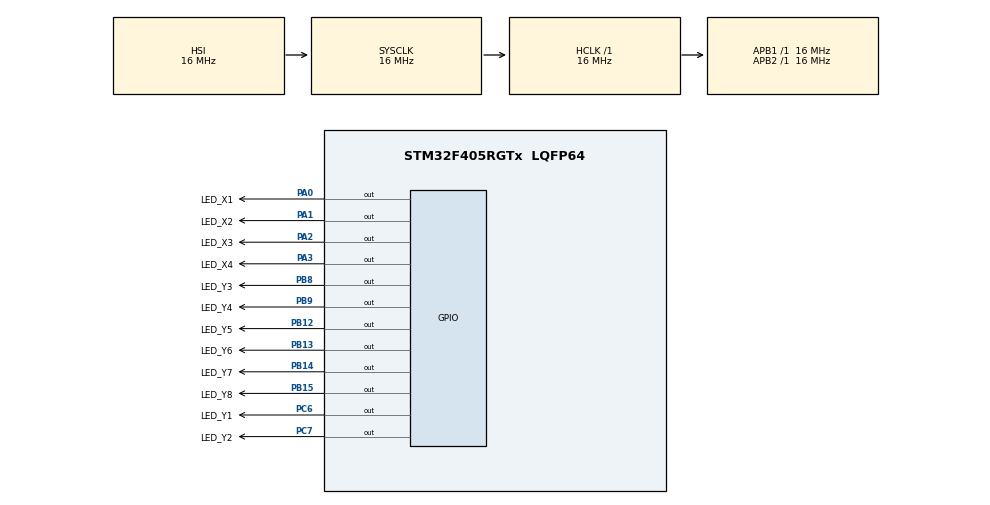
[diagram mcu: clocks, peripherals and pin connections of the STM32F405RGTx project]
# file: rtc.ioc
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Mcu.Family=STM32F4
Mcu.Name=STM32F405RGTx
Mcu.Package=LQFP64
NVIC.PriorityGroup=NVIC_PRIORITYGROUP_4
NVIC.RCC_IRQn=true\:0\:0\:false\:false\:true\:true\:false
PA0-WKUP.GPIO_Label=LED_X1
PA0-WKUP.Signal=GPIO_Output
PA1.GPIO_Label=LED_X2
PA1.Signal=GPIO_Output
PA13.Mode=Serial_Wire
PA13.Signal=SYS_JTMS-SWDIO
PA14.Mode=Serial_Wire
PA14.Signal=SYS_JTCK-SWCLK
PA2.GPIO_Label=LED_X3
PA2.Signal=GPIO_Output
PA3.GPIO_Label=LED_X4
PA3.Signal=GPIO_Output
PB12.GPIO_Label=LED_Y5
PB12.Signal=GPIO_Output
PB13.GPIO_Label=LED_Y6
PB13.Signal=GPIO_Output
PB14.GPIO_Label=LED_Y7
PB14.Signal=GPIO_Output
PB15.GPIO_Label=LED_Y8
PB15.Signal=GPIO_Output
PB8.GPIO_Label=LED_Y3
PB8.Signal=GPIO_Output
PB9.GPIO_Label=LED_Y4
PB9.Signal=GPIO_Output
PC6.GPIO_Label=LED_Y1
PC6.Signal=GPIO_Output
PC7.GPIO_Label=LED_Y2
PC7.Signal=GPIO_Output
ProjectManager.HeapSize=0x200
ProjectManager.StackSize=0x400
ProjectManager.TargetToolchain=MDK-ARM V5
RCC.AHBFreq_Value=16000000
RCC.APB1Freq_Value=16000000
RCC.APB2Freq_Value=16000000
RCC.CortexFreq_Value=16000000
RCC.HSE_VALUE=25000000
RCC.HSI_VALUE=16000000
RCC.SYSCLKFreq_VALUE=16000000
RCC.VCOOutputFreq_Value=192000000
RTC.Format=RTC_FORMAT_BIN
RTC.HourFormat=RTC_HOURFORMAT_24
RTC.Hours=12
RTC.Minutes=34
RTC.Seconds=56
VP_RTC_VS_RTC_Activate.Mode=RTC_Enabled
VP_RTC_VS_RTC_Calendar.Mode=RTC_Calendar
board=custom

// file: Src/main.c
/* USER CODE BEGIN Header */
/**
  ******************************************************************************
  * @file           : main.c
  * @brief          : Main program body
  ******************************************************************************
  * @attention
  *
  * <h2><center>&copy; Copyright (c) 2019 STMicroelectronics.
  * All rights reserved.</center></h2>
  *
  * This software component is licensed by ST under BSD 3-Clause license,
  * the "License"; You may not use this file except in compliance with the
  * License. You may obtain a copy of the License at:
  *                        opensource.org/licenses/BSD-3-Clause
  *
  ******************************************************************************
  */
/* USER CODE END Header */

#include "main.h"

RTC_HandleTypeDef hrtc;

/* USER CODE BEGIN PV */
	RTC_TimeTypeDef sTime1;
	RTC_DateTypeDef sDate1;
uint8_t num_code[]={ 0xc0,0xf9,0xa4,0xb0, // 0?1?2?3
0x99,0x92,0x82,0xf8, // 4?5?6?7
0x80,0x90,0x88,0x83, // 8?9?a?b
0xa7,0xa1,0x86,0x8e}; // c?d?e?f

/* USER CODE END PV */

void SystemClock_Config(void);
static void MX_GPIO_Init(void);
static void MX_RTC_Init(void);

/* USER CODE BEGIN 0 */
void SetYOutPut(uint8_t set_value);
	void delay(uint8_t i)
	{
		uint16_t m,j;
		for(m=0;m<i;m++)
		 for(j=0;j<1000;j++);

	}

/* USER CODE END 0 */

int main(void)
{

  /* MCU Configuration--------------------------------------------------------*/

  /* Reset of all peripherals, Initializes the Flash interface and the Systick. */
  HAL_Init();

  /* Configure the system clock */
  SystemClock_Config();

  /* Initialize all configured peripherals */
  MX_GPIO_Init();
  MX_RTC_Init();
  /* USER CODE BEGIN 2 */
	HAL_GPIO_WritePin(GPIOA, LED_X1_Pin|LED_X2_Pin|LED_X3_Pin|LED_X4_Pin, GPIO_PIN_SET);
  /* USER CODE END 2 */

  /* Infinite loop */
  /* USER CODE BEGIN WHILE */
  while (1)
  {

	HAL_RTC_GetDate(&hrtc, &sDate1,RTC_FORMAT_BIN);
	  HAL_RTC_GetTime(&hrtc, &sTime1,RTC_FORMAT_BIN);

		HAL_GPIO_WritePin(GPIOA, LED_X1_Pin, GPIO_PIN_RESET);
		SetYOutPut(num_code[sTime1.Minutes%10]);
		delay(10);
		HAL_GPIO_WritePin(GPIOA, LED_X1_Pin, GPIO_PIN_SET);

		HAL_GPIO_WritePin(GPIOA, LED_X2_Pin, GPIO_PIN_RESET);
		SetYOutPut(num_code[sTime1.Minutes/10]);
		delay(10);
		HAL_GPIO_WritePin(GPIOA, LED_X2_Pin, GPIO_PIN_SET);

		HAL_GPIO_WritePin(GPIOA, LED_X3_Pin, GPIO_PIN_RESET);
		SetYOutPut(num_code[sTime1.Seconds/10]);
		delay(10);
		HAL_GPIO_WritePin(GPIOA, LED_X3_Pin, GPIO_PIN_SET);

		HAL_GPIO_WritePin(GPIOA, LED_X4_Pin, GPIO_PIN_RESET);
		SetYOutPut(num_code[sTime1.Seconds%10]);
		delay(10);
		HAL_GPIO_WritePin(GPIOA, LED_X4_Pin, GPIO_PIN_SET);

    /* USER CODE END WHILE */

  }
}

void SystemClock_Config(void)
{
  RCC_OscInitTypeDef RCC_OscInitStruct = {0};
  RCC_ClkInitTypeDef RCC_ClkInitStruct = {0};
  RCC_PeriphCLKInitTypeDef PeriphClkInitStruct = {0};

  /** Configure the main internal regulator output voltage
  */
  __HAL_RCC_PWR_CLK_ENABLE();
  __HAL_PWR_VOLTAGESCALING_CONFIG(PWR_REGULATOR_VOLTAGE_SCALE1);
  /** Initializes the CPU, AHB and APB busses clocks
  */
  RCC_OscInitStruct.OscillatorType = RCC_OSCILLATORTYPE_HSI|RCC_OSCILLATORTYPE_LSI;
  RCC_OscInitStruct.HSIState = RCC_HSI_ON;
  RCC_OscInitStruct.HSICalibrationValue = RCC_HSICALIBRATION_DEFAULT;
  RCC_OscInitStruct.LSIState = RCC_LSI_ON;
  RCC_OscInitStruct.PLL.PLLState = RCC_PLL_NONE;
  if (HAL_RCC_OscConfig(&RCC_OscInitStruct) != HAL_OK)
  {
    Error_Handler();
  }
  /** Initializes the CPU, AHB and APB busses clocks
  */
  RCC_ClkInitStruct.ClockType = RCC_CLOCKTYPE_HCLK|RCC_CLOCKTYPE_SYSCLK
                              |RCC_CLOCKTYPE_PCLK1|RCC_CLOCKTYPE_PCLK2;
  RCC_ClkInitStruct.SYSCLKSource = RCC_SYSCLKSOURCE_HSI;
  RCC_ClkInitStruct.AHBCLKDivider = RCC_SYSCLK_DIV1;
  RCC_ClkInitStruct.APB1CLKDivider = RCC_HCLK_DIV1;
  RCC_ClkInitStruct.APB2CLKDivider = RCC_HCLK_DIV1;

  if (HAL_RCC_ClockConfig(&RCC_ClkInitStruct, FLASH_LATENCY_0) != HAL_OK)
  {
    Error_Handler();
  }
  PeriphClkInitStruct.PeriphClockSelection = RCC_PERIPHCLK_RTC;
  PeriphClkInitStruct.RTCClockSelection = RCC_RTCCLKSOURCE_LSI;
  if (HAL_RCCEx_PeriphCLKConfig(&PeriphClkInitStruct) != HAL_OK)
  {
    Error_Handler();
  }
}

static void MX_RTC_Init(void)
{

  RTC_TimeTypeDef sTime = {0};
  RTC_DateTypeDef sDate = {0};

  /** Initialize RTC Only
  */
  hrtc.Instance = RTC;
  hrtc.Init.HourFormat = RTC_HOURFORMAT_24;
  hrtc.Init.AsynchPrediv = 127;
  hrtc.Init.SynchPrediv = 255;
  hrtc.Init.OutPut = RTC_OUTPUT_DISABLE;
  hrtc.Init.OutPutPolarity = RTC_OUTPUT_POLARITY_HIGH;
  hrtc.Init.OutPutType = RTC_OUTPUT_TYPE_OPENDRAIN;
  if (HAL_RTC_Init(&hrtc) != HAL_OK)
  {
    Error_Handler();
  }

  /** Initialize RTC and set the Time and Date
  */
  sTime.Hours = 12;
  sTime.Minutes = 34;
  sTime.Seconds = 56;
  sTime.DayLightSaving = RTC_DAYLIGHTSAVING_NONE;
  sTime.StoreOperation = RTC_STOREOPERATION_RESET;
  if (HAL_RTC_SetTime(&hrtc, &sTime, RTC_FORMAT_BIN) != HAL_OK)
  {
    Error_Handler();
  }
  sDate.WeekDay = RTC_WEEKDAY_MONDAY;
  sDate.Month = RTC_MONTH_JANUARY;
  sDate.Date = 1;
  sDate.Year = 0;

  if (HAL_RTC_SetDate(&hrtc, &sDate, RTC_FORMAT_BIN) != HAL_OK)
  {
    Error_Handler();
  }

}

static void MX_GPIO_Init(void)
{
  GPIO_InitTypeDef GPIO_InitStruct = {0};

  /* GPIO Ports Clock Enable */
  __HAL_RCC_GPIOC_CLK_ENABLE();
  __HAL_RCC_GPIOA_CLK_ENABLE();
  __HAL_RCC_GPIOB_CLK_ENABLE();

  /*Configure GPIO pin Output Level */
  HAL_GPIO_WritePin(GPIOA, LED_X1_Pin|LED_X2_Pin|LED_X3_Pin|LED_X4_Pin, GPIO_PIN_RESET);

  /*Configure GPIO pin Output Level */
  HAL_GPIO_WritePin(GPIOB, LED_Y5_Pin|LED_Y6_Pin|LED_Y7_Pin|LED_Y8_Pin
                          |LED_Y3_Pin|LED_Y4_Pin, GPIO_PIN_RESET);

  /*Configure GPIO pin Output Level */
  HAL_GPIO_WritePin(GPIOC, LED_Y1_Pin|LED_Y2_Pin, GPIO_PIN_RESET);

  /*Configure GPIO pins : LED_X1_Pin LED_X2_Pin LED_X3_Pin LED_X4_Pin */
  GPIO_InitStruct.Pin = LED_X1_Pin|LED_X2_Pin|LED_X3_Pin|LED_X4_Pin;
  GPIO_InitStruct.Mode = GPIO_MODE_OUTPUT_PP;
  GPIO_InitStruct.Pull = GPIO_NOPULL;
  GPIO_InitStruct.Speed = GPIO_SPEED_FREQ_LOW;
  HAL_GPIO_Init(GPIOA, &GPIO_InitStruct);

  /*Configure GPIO pins : LED_Y5_Pin LED_Y6_Pin LED_Y7_Pin LED_Y8_Pin
                           LED_Y3_Pin LED_Y4_Pin */
  GPIO_InitStruct.Pin = LED_Y5_Pin|LED_Y6_Pin|LED_Y7_Pin|LED_Y8_Pin
                          |LED_Y3_Pin|LED_Y4_Pin;
  GPIO_InitStruct.Mode = GPIO_MODE_OUTPUT_PP;
  GPIO_InitStruct.Pull = GPIO_NOPULL;
  GPIO_InitStruct.Speed = GPIO_SPEED_FREQ_LOW;
  HAL_GPIO_Init(GPIOB, &GPIO_InitStruct);

  /*Configure GPIO pins : LED_Y1_Pin LED_Y2_Pin */
  GPIO_InitStruct.Pin = LED_Y1_Pin|LED_Y2_Pin;
  GPIO_InitStruct.Mode = GPIO_MODE_OUTPUT_PP;
  GPIO_InitStruct.Pull = GPIO_NOPULL;
  GPIO_InitStruct.Speed = GPIO_SPEED_FREQ_LOW;
  HAL_GPIO_Init(GPIOC, &GPIO_InitStruct);

}

/* USER CODE BEGIN 4 */
void SetYOutPut(uint8_t set_value)
{

	if(0x40 == (set_value&0x40))
	{
	  HAL_GPIO_WritePin(GPIOB, LED_Y8_Pin , GPIO_PIN_SET);
	}
	else
	{
	  HAL_GPIO_WritePin(GPIOB, LED_Y8_Pin , GPIO_PIN_RESET);
	}

	if(0x80 == (set_value&0x80))
	{
	  HAL_GPIO_WritePin(GPIOB, LED_Y7_Pin , GPIO_PIN_SET);
	}
	else
	{
	  HAL_GPIO_WritePin(GPIOB, LED_Y7_Pin , GPIO_PIN_RESET);
	}

	if(0x20 == (set_value&0x20))
	{
	  HAL_GPIO_WritePin(GPIOB, LED_Y6_Pin , GPIO_PIN_SET);
	}
	else
	{
	  HAL_GPIO_WritePin(GPIOB, LED_Y6_Pin , GPIO_PIN_RESET);
	}

	if(0x10 == (set_value&0x10))
	{
	  HAL_GPIO_WritePin(GPIOB, LED_Y5_Pin , GPIO_PIN_SET);
	}
	else
	{
	  HAL_GPIO_WritePin(GPIOB, LED_Y5_Pin , GPIO_PIN_RESET);
	}

	if(0x8 == (set_value&0x8))
	{
	  HAL_GPIO_WritePin(GPIOB, LED_Y4_Pin , GPIO_PIN_SET);
	}
	else
	{
	  HAL_GPIO_WritePin(GPIOB, LED_Y4_Pin , GPIO_PIN_RESET);
	}

	if(0x4 == (set_value&0x4))
	{
	  HAL_GPIO_WritePin(GPIOB, LED_Y3_Pin , GPIO_PIN_SET);
	}
	else
	{
	  HAL_GPIO_WritePin(GPIOB, LED_Y3_Pin , GPIO_PIN_RESET);
	}

	if(0x1 == (set_value&0x01))
	{
	  HAL_GPIO_WritePin(GPIOC, LED_Y2_Pin , GPIO_PIN_SET);
	}
	else
	{
	  HAL_GPIO_WritePin(GPIOC, LED_Y2_Pin , GPIO_PIN_RESET);
	}

	if(0x2 == (set_value&0x2))
	{
	  HAL_GPIO_WritePin(GPIOC, LED_Y1_Pin , GPIO_PIN_SET);
	}
	else
	{
	  HAL_GPIO_WritePin(GPIOC, LED_Y1_Pin , GPIO_PIN_RESET);
	}

}

/* USER CODE END 4 */

void Error_Handler(void)
{
}

/************************ (C) COPYRIGHT STMicroelectronics *****END OF FILE****/
